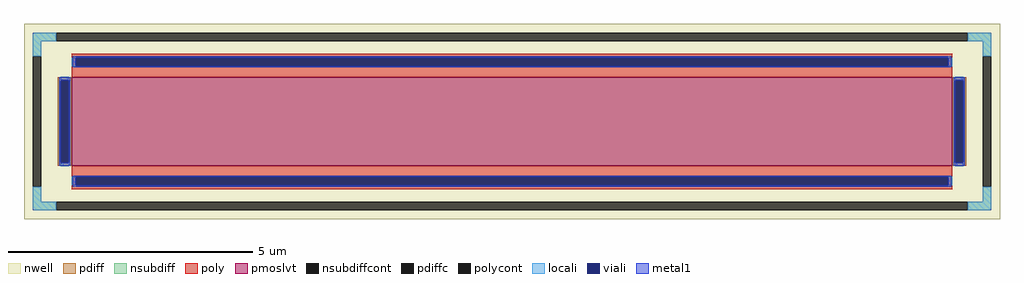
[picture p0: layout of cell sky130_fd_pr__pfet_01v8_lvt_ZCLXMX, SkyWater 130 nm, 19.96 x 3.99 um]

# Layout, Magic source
magic
tech sky130A
magscale 1 2
<< nwell >>
rect -1996 -399 1996 399
<< pmoslvt >>
rect -1800 -180 1800 180
<< pdiff >>
rect -1858 168 -1800 180
rect -1858 -168 -1846 168
rect -1812 -168 -1800 168
rect -1858 -180 -1800 -168
rect 1800 168 1858 180
rect 1800 -168 1812 168
rect 1846 -168 1858 168
rect 1800 -180 1858 -168
<< pdiffc >>
rect -1846 -168 -1812 168
rect 1812 -168 1846 168
<< nsubdiff >>
rect -1960 329 -1864 363
rect 1864 329 1960 363
rect -1960 267 -1926 329
rect 1926 267 1960 329
rect -1960 -329 -1926 -267
rect 1926 -329 1960 -267
rect -1960 -363 -1864 -329
rect 1864 -363 1960 -329
<< nsubdiffcont >>
rect -1864 329 1864 363
rect -1960 -267 -1926 267
rect 1926 -267 1960 267
rect -1864 -363 1864 -329
<< poly >>
rect -1800 261 1800 277
rect -1800 227 -1784 261
rect 1784 227 1800 261
rect -1800 180 1800 227
rect -1800 -227 1800 -180
rect -1800 -261 -1784 -227
rect 1784 -261 1800 -227
rect -1800 -277 1800 -261
<< polycont >>
rect -1784 227 1784 261
rect -1784 -261 1784 -227
<< locali >>
rect -1960 329 -1864 363
rect 1864 329 1960 363
rect -1960 267 -1926 329
rect 1926 267 1960 329
rect -1800 227 -1784 261
rect 1784 227 1800 261
rect -1846 168 -1812 184
rect -1846 -184 -1812 -168
rect 1812 168 1846 184
rect 1812 -184 1846 -168
rect -1800 -261 -1784 -227
rect 1784 -261 1800 -227
rect -1960 -329 -1926 -267
rect 1926 -329 1960 -267
rect -1960 -363 -1864 -329
rect 1864 -363 1960 -329
<< viali >>
rect -1784 227 1784 261
rect -1846 -168 -1812 168
rect 1812 -168 1846 168
rect -1784 -261 1784 -227
<< metal1 >>
rect -1796 261 1796 267
rect -1796 227 -1784 261
rect 1784 227 1796 261
rect -1796 221 1796 227
rect -1852 168 -1806 180
rect -1852 -168 -1846 168
rect -1812 -168 -1806 168
rect -1852 -180 -1806 -168
rect 1806 168 1852 180
rect 1806 -168 1812 168
rect 1846 -168 1852 168
rect 1806 -180 1852 -168
rect -1796 -227 1796 -221
rect -1796 -261 -1784 -227
rect 1784 -261 1796 -227
rect -1796 -267 1796 -261
<< properties >>
string FIXED_BBOX -1943 -346 1943 346
string gencell sky130_fd_pr__pfet_01v8_lvt
string library sky130
string parameters w 1.8 l 18.0 m 1 nf 1 diffcov 100 polycov 100 guard 1 glc 1 grc 1 gtc 1 gbc 1 tbcov 100 rlcov 100 topc 1 botc 1 poverlap 0 doverlap 1 lmin 0.35 wmin 0.42 class mosfet compatible {sky130_fd_pr__pfet_01v8  sky130_fd_pr__pfet_01v8_lvt sky130_fd_pr__pfet_01v8_hvt  sky130_fd_pr__pfet_g5v0d10v5} full_metal 1 viasrc 100 viadrn 100 viagate 100 viagb 0 viagr 0 viagl 0 viagt 0 ad {int((nf+1)/2) * W/nf * 0.29} as {int((nf+2)/2) * W/nf * 0.29} pd {2*int((nf+1)/2) * (W/nf + 0.29)} ps {2*int((nf+2)/2) * (W/nf + 0.29)} nrd {0.29 / W} nrs {0.29 / W} sa 0 sb 0 sd 0 mult 1
<< end >>
